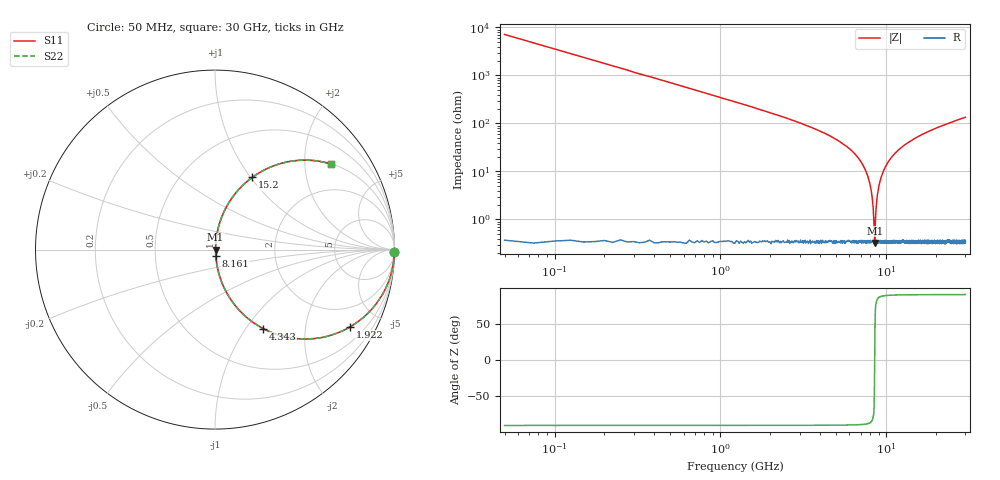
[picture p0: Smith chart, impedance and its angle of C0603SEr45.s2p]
!	AVX Thin Film Operation 	Date: April 2014
!	Description: Accu-P® Series, Thin Film  SMD RF Capacitor
!	Part Number: 06031JR45ZBSTR
# MHZ S MA R 50
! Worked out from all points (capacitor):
!   1201 points, 50 MHz to 30 GHz, reference 50 ohm
!   read as one part in series: C = 448 fF near 199.8 MHz
!   lowest |Z| = 321 mohm at 8.511 GHz (marker M1)
!   series resonance near 8.511 GHz, so ESL is about 780 pH
!   S11 on the Smith chart (normalised r, x): 50 MHz: open; 1.922 GHz: 1.01, -3.49; 4.343 GHz: 1.01, -1.21; 8.161 GHz: 1.01, -0.07; 15.2 GHz: 1.01, +1.02; 30 GHz: 1.01, +2.69
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50  1 -0.8  0.014 89.2  0.014 89.2  1 -0.8
299.583  0.996 -4.8  0.085 85.1  0.085 85.1  0.996 -4.8
599.083  0.986 -9.7  0.168 80.3  0.168 80.3  0.986 -9.7
1123.208  0.951 -17.9  0.307 72.0  0.307 72.0  0.951 -17.9
1921.875  0.867 -29.8  0.496 60.1  0.496 60.1  0.867 -29.8
4342.833  0.515 -58.7  0.854 31.0  0.854 31.0  0.515 -58.7
5041.667  0.413 -65.2  0.908 24.4  0.908 24.4  0.413 -65.2
7163.125  0.142 -80.5  0.986 8.2  0.986 8.2  0.142 -80.5
7787.083  0.074 -83.1  0.994 4.2  0.994 4.2  0.074 -83.1
8161.458  0.035 -82.4  0.996 2.0  0.996 2.0  0.035 -82.4
8411.042  0.01 -70.4  0.997 0.6  0.997 0.6  0.01 -70.4
8510.875  0.0034 -0.9  0.997 0.0  0.997 0.0  0.0034 -0.9
8610.708  0.01 70.0  0.997 -0.6  0.997 -0.6  0.01 70.0
8810.375  0.029 81.6  0.996 -1.6  0.996 -1.6  0.029 81.6
9035  0.05 83.2  0.995 -2.8  0.995 -2.8  0.05 83.2
10058.29  0.138 80.7  0.987 -7.9  0.987 -7.9  0.138 80.7
11930.17  0.274 73.4  0.958 -15.9  0.958 -15.9  0.274 73.4
15025  0.445 63.2  0.893 -26.4  0.893 -26.4  0.445 63.2
15199.71  0.453 62.7  0.889 -26.9  0.889 -26.9  0.453 62.7
20016.67  0.624 51.2  0.779 -38.6  0.779 -38.6  0.624 51.2
25033.29  0.733 42.7  0.678 -47.1  0.678 -47.1  0.733 42.7
30000  0.802 36.5  0.595 -53.3  0.595 -53.3  0.802 36.5
